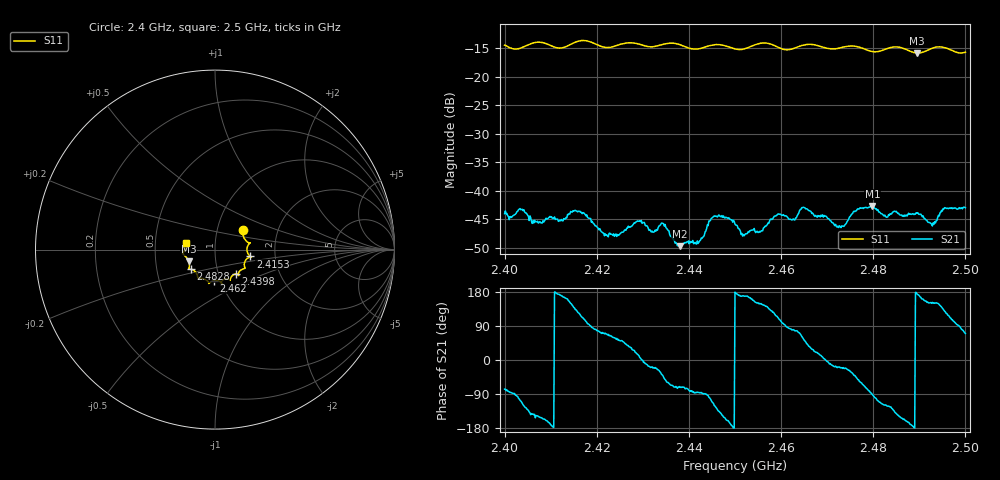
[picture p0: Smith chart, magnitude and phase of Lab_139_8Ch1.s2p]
# Hz S RI R 50
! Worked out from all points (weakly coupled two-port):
!   601 points, 2.4 GHz to 2.5 GHz, reference 50 ohm
!   highest |S21| = -42.68 dB at 2.4798 GHz (marker M1); lowest = -49.7 dB at 2.438 GHz (marker M2)
!   lowest |S11| = -15.9 dB at 2.4895 GHz (marker M3), VSWR 1.38, Z = 37 - j5.02 ohm
!   |S11| at or under -10 dB: start of sweep to end of sweep
!   S12 and S22 are empty: the file has one direction only
!   S11 on the Smith chart (normalised r, x): 2.4 GHz: 1.33, +0.30; 2.4153 GHz: 1.48, -0.12; 2.4398 GHz: 1.21, -0.34; 2.462 GHz: 0.93, -0.33; 2.4828 GHz: 0.74, -0.17; 2.5 GHz: 0.72, +0.06
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2.4e9  0.1552 0.1071  0.00144 -0.00615  0 0  0 0
2.407667e9  0.1965 0.0375  -0.00472 -0.00257  0 0  0 0
2.415333e9  0.1962 -0.0384  -0.00462 0.00491  0 0  0 0
2.416667e9  0.2024 -0.0424  -0.00271 0.00588  0 0  0 0
2.422e9  0.1679 -0.0637  0.00145 0.00381  0 0  0 0
2.429167e9  0.1606 -0.1064  0.00531 0.00104  0 0  0 0
2.433333e9  0.1305 -0.1336  0.00429 -0.00209  0 0  0 0
2.438e9  0.1291 -0.1403  0.00112 -0.00308  0 0  0 0
2.439833e9  0.1157 -0.1359  0.000814 -0.00355  0 0  0 0
2.4425e9  0.0919 -0.1504  0.000243 -0.00367  0 0  0 0
2.4455e9  0.0845 -0.1701  -0.00304 -0.00521  0 0  0 0
2.45e9  0.065 -0.1624  -0.0051 8.28e-05  0 0  0 0
2.452167e9  0.0429 -0.17  -0.00406 0.000849  0 0  0 0
2.462e9  -0.00495 -0.1728  0.00076 0.00558  0 0  0 0
2.466667e9  -0.0343 -0.1883  0.00556 0.00302  0 0  0 0
2.473e9  -0.0804 -0.16  0.00445 -0.00166  0 0  0 0
2.479833e9  -0.1082 -0.1252  -0.00024 -0.00734  0 0  0 0
2.482833e9  -0.1364 -0.1093  -0.00291 -0.00511  0 0  0 0
2.483333e9  -0.1402 -0.109  -0.00326 -0.00526  0 0  0 0
2.4895e9  -0.1461 -0.0661  -0.00633 0.000615  0 0  0 0
2.493e9  -0.1762 -0.0268  -0.00452 0.00265  0 0  0 0
2.5e9  -0.1589 0.0391  0.00245 0.00666  0 0  0 0
